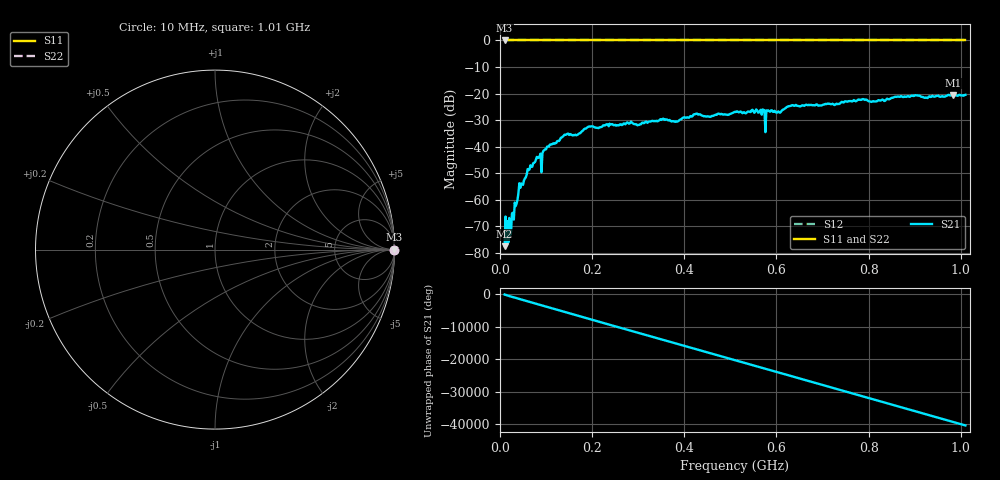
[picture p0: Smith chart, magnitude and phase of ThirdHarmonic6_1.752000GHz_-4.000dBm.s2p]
! 8/16/2025 9:08:00 PM
! C:\ANRITSUVNA\TEMP\TEMP.S2P
! CHANNEL.1
! TR.MEASUREMENT
! RAW.DATA
! RF.CORRECTION.OFF
! AVERAGING.OFF
! IF.BANDWIDTH: 5KHZ
! SWEEPTYPE:  FREQ.SWEEP(Linear)
! Reference Plane Port Info
! PORT:  PORT1  PORT2
! DISTANCE:  0  m  0  m
! TIME:  0  s  0  s
! PHASE.OFFSET:  0  deg.  0  deg.
! LOSS:  0  dB  0  dB
! REF.LOSS:  0  dB  0  dB
! REF.FREQ:  0  Hz  0  Hz
! Power Info
! POWER:  -20  dBm  -20  dBm
! EFF.POWER:  -20  dBm  -20  dBm
! SOURCE.ATTEN:  0  dB  0  dB
! TEST.ATTEN:  0  dB  0  dB
# GHZ S RI R 50.0
! FREQ.GHZ  S11RE  S11IM  S21RE  S21IM  S12RE  S12IM  S22RE  S22IM
!; PortSelection: Port_12
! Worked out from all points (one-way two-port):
!   501 points, 10 MHz to 1.01 GHz, reference 50 ohm
!   highest |S21| = -20.50 dB at 984 MHz (marker M1); lowest = -77.5 dB at 10 MHz (marker M2)
!   lowest |S11| = 0.0 dB at 10 MHz (marker M3)
!   |S11| at or under -10 dB: nowhere
!   |S22| runs from 0.0 to 0.0 dB; largest |S21 - S12| = 1.1
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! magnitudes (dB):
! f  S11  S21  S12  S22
! 10 MHz  0.0  -77.5  0.0  0.0
! 16 MHz  0.0  -68.1  0.0  0.0
! 18 MHz  0.0  -76.1  0.0  0.0
! 26 MHz  0.0  -65.2  0.0  0.0
! 30 MHz  0.0  -67.5  0.0  0.0
! 44 MHz  0.0  -55.6  0.0  0.0
! 64 MHz  0.0  -48.7  0.0  0.0
! 106 MHz  0.0  -40.0  0.0  0.0
! 144 MHz  0.0  -35.5  0.0  0.0
! 178 MHz  0.0  -34.2  0.0  0.0
! 196 MHz  0.0  -32.5  0.0  0.0
! 344 MHz  0.0  -30.3  0.0  0.0
! 510 MHz  0.0  -26.9  0.0  0.0
! 570 MHz  0.0  -26.0  0.0  0.0
! 580 MHz  0.0  -26.6  0.0  0.0
! 582 MHz  0.0  -26.4  0.0  0.0
! 604 MHz  0.0  -26.7  0.0  0.0
! 630 MHz  0.0  -24.7  0.0  0.0
! 678 MHz  0.0  -24.4  0.0  0.0
! 844 MHz  0.0  -22.2  0.0  0.0
! 984 MHz  0.0  -20.5  0.0  0.0
! 1.01 GHz  0.0  -20.5  0.0  0.0
